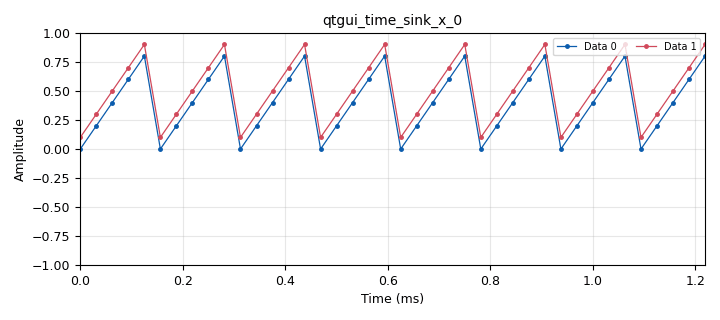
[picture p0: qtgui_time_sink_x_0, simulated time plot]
<?xml version='1.0' encoding='utf-8'?>
<?grc format='1' created='3.7.7'?>
<flow_graph>
<block>
<key>options</key>
<param><key>id</key><value>blocks_keep_m_in_n</value></param>
<param><key>generate_options</key><value>qt_gui</value></param>
<param><key>category</key><value>Custom</value></param>
</block>
<block>
<key>variable</key>
<param><key>id</key><value>samp_rate</value></param>
<param><key>value</key><value>32000</value></param>
</block>
<block>
<key>import</key>
<param><key>id</key><value>import_0</value></param>
<param><key>import</key><value>import pmt</value></param>
</block>
<block>
<key>blocks_keep_m_in_n</key>
<param><key>id</key><value>blocks_keep_m_in_n_0_0</value></param>
<param><key>type</key><value>float</value></param>
<param><key>m</key><value>1</value></param>
<param><key>n</key><value>2</value></param>
<param><key>offset</key><value>1</value></param>
</block>
<block>
<key>blocks_vector_source_x</key>
<param><key>id</key><value>blocks_vector_source_x_0</value></param>
<param><key>type</key><value>float</value></param>
<param><key>vector</key><value>[0, 0.1, 0.2, 0.3, 0.4, 0.5, 0.6, 0.7, 0.8, 0.9]</value></param>
<param><key>tags</key><value>[gr.tag_utils.python_to_tag((1, pmt.intern("mark"), pmt.PMT_T, pmt.intern("src"))),]</value></param>
<param><key>repeat</key><value>True</value></param>
</block>
<block>
<key>blocks_throttle</key>
<param><key>id</key><value>blocks_throttle_0</value></param>
<param><key>type</key><value>float</value></param>
<param><key>samples_per_second</key><value>samp_rate</value></param>
</block>
<block>
<key>qtgui_time_sink_x</key>
<param><key>id</key><value>qtgui_time_sink_x_0</value></param>
<param><key>type</key><value>float</value></param>
<param><key>size</key><value>40</value></param>
<param><key>srate</key><value>samp_rate</value></param>
<param><key>nconnections</key><value>2</value></param>
<param><key>tr_mode</key><value>qtgui.TRIG_MODE_NORM</value></param>
<param><key>label1</key><value></value></param>
<param><key>color1</key><value>"blue"</value></param>
<param><key>marker1</key><value>0</value></param>
<param><key>label2</key><value></value></param>
<param><key>color2</key><value>"red"</value></param>
<param><key>marker2</key><value>0</value></param>
</block>
<block>
<key>blocks_keep_m_in_n</key>
<param><key>id</key><value>blocks_keep_m_in_n_0</value></param>
<param><key>type</key><value>float</value></param>
<param><key>m</key><value>1</value></param>
<param><key>n</key><value>2</value></param>
<param><key>offset</key><value>0</value></param>
</block>
<connection><source_block_id>blocks_throttle_0</source_block_id><sink_block_id>blocks_keep_m_in_n_0</sink_block_id><source_key>0</source_key><sink_key>0</sink_key></connection>
<connection><source_block_id>blocks_keep_m_in_n_0</source_block_id><sink_block_id>qtgui_time_sink_x_0</sink_block_id><source_key>0</source_key><sink_key>0</sink_key></connection>
<connection><source_block_id>blocks_vector_source_x_0</source_block_id><sink_block_id>blocks_throttle_0</sink_block_id><source_key>0</source_key><sink_key>0</sink_key></connection>
<connection><source_block_id>blocks_keep_m_in_n_0_0</source_block_id><sink_block_id>qtgui_time_sink_x_0</sink_block_id><source_key>0</source_key><sink_key>1</sink_key></connection>
<connection><source_block_id>blocks_throttle_0</source_block_id><sink_block_id>blocks_keep_m_in_n_0_0</sink_block_id><source_key>0</source_key><sink_key>0</sink_key></connection>
</flow_graph>
